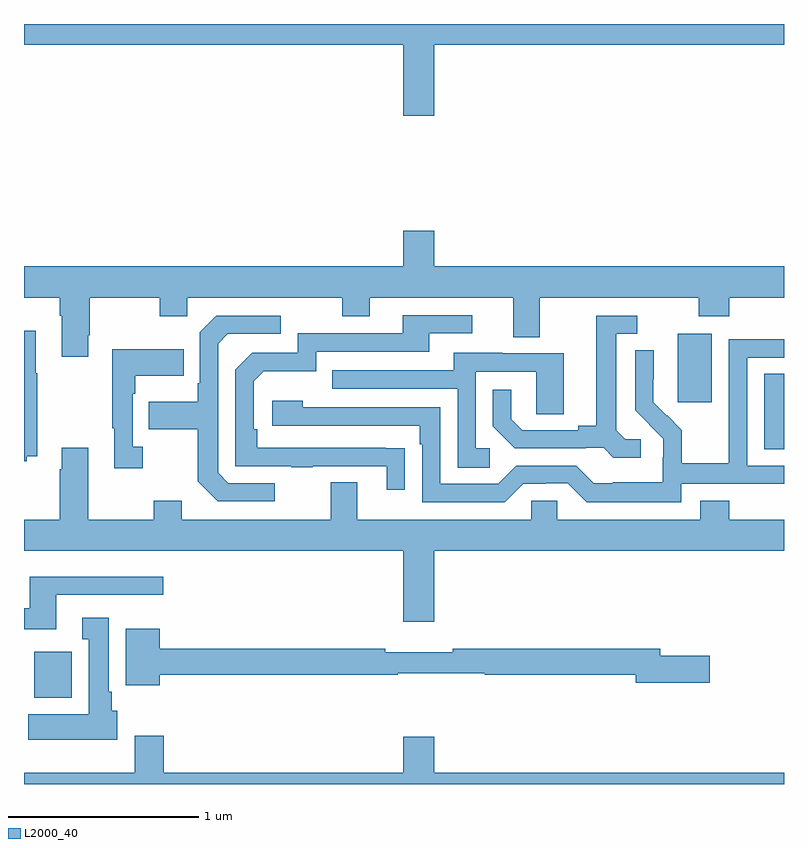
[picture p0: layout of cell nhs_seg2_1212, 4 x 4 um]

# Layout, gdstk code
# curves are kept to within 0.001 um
import gdstk
lib = gdstk.Library(unit=1e-6, precision=1e-09)
def R(c, l, rs):  # rectangles x0, y0, x1, y1
    for r in rs: c.add(gdstk.rectangle(r[:2], r[2:], *l))
def P(c, l, *ps):  # polygons
    for p in ps: c.add(gdstk.Polygon(p, *l))
L2000_40 = (2000, 40)

nhs_seg2_1212 = lib.new_cell('nhs_seg2_1212')
R(nhs_seg2_1212, L2000_40, [(175.055,588.254,175.252,588.496), (178.895,589.561,179,589.958), (178.442,589.809,178.621,590.17)])
P(nhs_seg2_1212, L2000_40, [(177.16,591.692),(179,591.692),(179,591.8),(175,591.8),(175,591.692),(176.996,591.692),(176.996,591.318),(177.16,591.318)],
  [(177.575,590.152),(177.715,590.152),(177.715,590.36),(178.552,590.36),(178.552,590.261),(178.712,590.261),(178.712,590.36),(179,590.36),(179,590.524),(177.16,590.524),(177.16,590.713),(176.996,590.713),(176.996,590.524),(175,590.524),(175,590.36),(175.187,590.36),(175.187,590.264),(175.199,590.264),(175.199,590.049),(175.339,590.049),(175.339,590.161),(175.347,590.161),(175.347,590.36),(175.714,590.36),(175.714,590.261),(175.86,590.261),(175.86,590.36),(176.674,590.36),(176.674,590.261),(176.821,590.261),(176.821,590.36),(177.575,590.36)],
  [(177.005,589.568),(176.228,589.569),(176.228,589.666),(176.208,589.666),(176.208,589.92),(176.261,589.973),(176.538,589.973),(176.538,590.076),(177.133,590.076),(177.133,590.172),(177.358,590.172),(177.358,590.268),(176.993,590.268),(176.993,590.172),(176.442,590.172),(176.442,590.07),(176.202,590.07),(176.112,589.98),(176.112,589.473),(176.407,589.473),(176.407,589.468),(176.519,589.468),(176.519,589.473),(176.909,589.473),(176.909,589.35),(177.005,589.35)],
  [(178.246,589.614),(178.164,589.614),(178.117,589.661),(178.117,590.169),(178.228,590.169),(178.228,590.265),(178.013,590.265),(178.013,589.685),(177.917,589.685),(177.917,589.662),(177.622,589.662),(177.565,589.719),(177.565,589.876),(177.468,589.876),(177.468,589.682),(177.584,589.566),(177.956,589.566),(177.956,589.569),(178.05,589.569),(178.102,589.517),(178.246,589.517)],
  [(176.32,589.383),(176.076,589.383),(176.022,589.437),(176.022,590.118),(176.073,590.169),(176.35,590.169),(176.35,590.265),(176.013,590.265),(175.926,590.178),(175.926,589.909),(175.914,589.909),(175.914,589.813),(175.657,589.813),(175.657,589.666),(175.914,589.666),(175.914,589.393),(176.019,589.287),(176.32,589.287)],
  [(175.014,589.526),(175.071,589.526),(175.071,589.961),(175.063,589.961),(175.063,590.185),(175,590.185),(175,589.498),(175.014,589.498)],
  [(178.458,589.38),(179,589.38),(179,589.476),(178.806,589.476),(178.806,590.043),(179,590.043),(179,590.142),(178.71,590.142),(178.71,589.712),(178.708,589.712),(178.708,589.489),(178.463,589.489),(178.463,589.663),(178.386,589.74),(178.383,589.737),(178.313,589.808),(178.314,590.084),(178.218,590.084),(178.218,589.766),(178.364,589.618),(178.364,589.521),(178.362,589.521),(178.362,589.387),(178.099,589.387),(178.099,589.383),(177.999,589.383),(177.906,589.476),(177.591,589.476),(177.495,589.38),(177.192,589.38),(177.192,589.782),(176.468,589.782),(176.468,589.816),(176.307,589.816),(176.307,589.686),(177.083,589.686),(177.083,589.589),(177.096,589.589),(177.096,589.284),(177.531,589.284),(177.627,589.38),(177.746,589.38),(177.746,589.383),(177.861,589.383),(177.961,589.283),(178.458,589.283)],
  [(175.624,589.574),(175.572,589.574),(175.572,589.853),(175.585,589.853),(175.585,589.949),(175.841,589.949),(175.841,590.089),(175.464,590.089),(175.464,589.673),(175.475,589.673),(175.475,589.461),(175.624,589.461)],
  [(177.451,589.566),(177.378,589.566),(177.378,589.971),(177.696,589.971),(177.696,589.747),(177.841,589.747),(177.841,590.067),(177.517,590.067),(177.517,590.071),(177.263,590.071),(177.263,589.977),(176.623,589.977),(176.623,589.881),(177.282,589.881),(177.282,589.465),(177.451,589.465)],
  [(177.16,589.028),(179,589.028),(179,589.192),(178.712,589.192),(178.712,589.291),(178.559,589.291),(178.559,589.192),(177.807,589.192),(177.807,589.29),(177.669,589.29),(177.669,589.192),(176.755,589.192),(176.755,589.387),(176.615,589.387),(176.615,589.192),(175.831,589.192),(175.831,589.291),(175.684,589.291),(175.684,589.192),(175.339,589.192),(175.339,589.57),(175.199,589.57),(175.199,589.457),(175.187,589.457),(175.187,589.192),(175,589.192),(175,589.028),(176.996,589.028),(176.996,588.654),(177.16,588.654)],
  [(175.171,588.795),(175.732,588.795),(175.732,588.892),(175.031,588.892),(175.031,588.724),(175,588.724),(175,588.614),(175.171,588.614)],
  [(175.492,588.186),(175.462,588.186),(175.462,588.286),(175.447,588.286),(175.447,588.676),(175.307,588.676),(175.307,588.563),(175.34,588.563),(175.34,588.166),(175.023,588.166),(175.023,588.032),(175.492,588.032)],
  [(175.714,588.376),(176.967,588.376),(176.967,588.384),(177.424,588.384),(177.424,588.376),(178.22,588.376),(178.22,588.334),(178.609,588.334),(178.609,588.476),(178.348,588.476),(178.348,588.512),(177.256,588.512),(177.256,588.493),(176.9,588.493),(176.9,588.512),(175.714,588.512),(175.714,588.616),(175.535,588.616),(175.535,588.32),(175.714,588.32)],
  [(179,587.86),(177.16,587.86),(177.16,588.049),(176.996,588.049),(176.996,587.86),(175.736,587.86),(175.736,588.055),(175.583,588.055),(175.583,587.86),(175,587.86),(175,587.8),(179,587.8)])

lib.write_gds('nhs_seg2_1212.gds')
